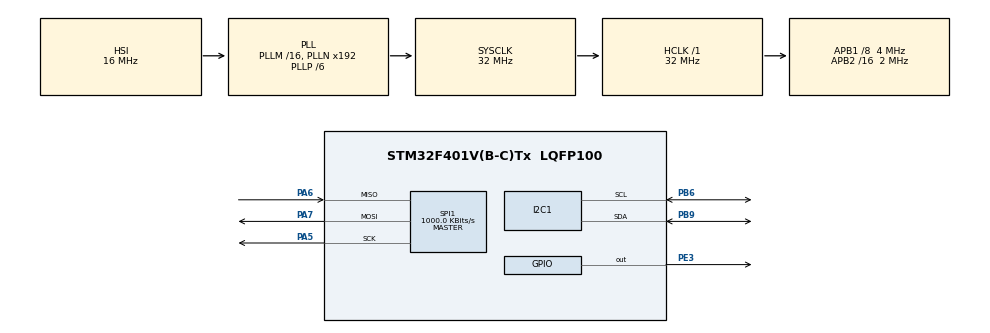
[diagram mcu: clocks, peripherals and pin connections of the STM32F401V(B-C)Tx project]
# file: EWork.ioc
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Mcu.Family=STM32F4
Mcu.Name=STM32F401V(B-C)Tx
Mcu.Package=LQFP100
NVIC.PriorityGroup=NVIC_PRIORITYGROUP_4
NVIC.TIM1_UP_TIM10_IRQn=true\:0\:0\:false\:false\:true
PA13.Mode=Serial_Wire
PA13.Signal=SYS_JTMS-SWDIO
PA14.Mode=Serial_Wire
PA14.Signal=SYS_JTCK-SWCLK
PA5.Mode=Full_Duplex_Master
PA5.Signal=SPI1_SCK
PA6.Mode=Full_Duplex_Master
PA6.Signal=SPI1_MISO
PA7.Mode=Full_Duplex_Master
PA7.Signal=SPI1_MOSI
PB6.Mode=I2C
PB6.Signal=I2C1_SCL
PB9.Mode=I2C
PB9.Signal=I2C1_SDA
PE3.GPIO_Speed=GPIO_SPEED_FREQ_HIGH
PE3.PinState=GPIO_PIN_SET
PE3.Signal=GPIO_Output
ProjectManager.HeapSize=0x200
ProjectManager.StackSize=0x400
ProjectManager.TargetToolchain=SW4STM32
RCC.AHBFreq_Value=32000000
RCC.APB1CLKDivider=RCC_HCLK_DIV8
RCC.APB1Freq_Value=4000000
RCC.APB1TimFreq_Value=8000000
RCC.APB2CLKDivider=RCC_HCLK_DIV16
RCC.APB2Freq_Value=2000000
RCC.APB2TimFreq_Value=4000000
RCC.CortexFreq_Value=32000000
RCC.HCLKFreq_Value=32000000
RCC.HSE_VALUE=25000000
RCC.HSI_VALUE=16000000
RCC.LSE_VALUE=32768
RCC.PLLP=RCC_PLLP_DIV6
RCC.SYSCLKFreq_VALUE=32000000
RCC.SYSCLKSource=RCC_SYSCLKSOURCE_PLLCLK
RCC.VCOOutputFreq_Value=192000000
SPI1.BaudRatePrescaler=SPI_BAUDRATEPRESCALER_2
SPI1.CalculateBaudRate=1000.0 KBits/s
SPI1.Mode=SPI_MODE_MASTER
TIM10.Period=39
TIM10.Prescaler=99
VP_TIM10_VS_ClockSourceINT.Mode=Enable_Timer
board=EWork

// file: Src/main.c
/**
  ******************************************************************************
  * File Name          : main.c
  * Description        : Main program body
  ******************************************************************************
  *
  * COPYRIGHT(c) 2016 STMicroelectronics
  *
  * Redistribution and use in source and binary forms, with or without modification,
  * are permitted provided that the following conditions are met:
  *   1. Redistributions of source code must retain the above copyright notice,
  *      this list of conditions and the following disclaimer.
  *   2. Redistributions in binary form must reproduce the above copyright notice,
  *      this list of conditions and the following disclaimer in the documentation
  *      and/or other materials provided with the distribution.
  *   3. Neither the name of STMicroelectronics nor the names of its contributors
  *      may be used to endorse or promote products derived from this software
  *      without specific prior written permission.
  *
  * THIS SOFTWARE IS PROVIDED BY THE COPYRIGHT HOLDERS AND CONTRIBUTORS "AS IS"
  * AND ANY EXPRESS OR IMPLIED WARRANTIES, INCLUDING, BUT NOT LIMITED TO, THE
  * IMPLIED WARRANTIES OF MERCHANTABILITY AND FITNESS FOR A PARTICULAR PURPOSE ARE
  * DISCLAIMED. IN NO EVENT SHALL THE COPYRIGHT HOLDER OR CONTRIBUTORS BE LIABLE
  * FOR ANY DIRECT, INDIRECT, INCIDENTAL, SPECIAL, EXEMPLARY, OR CONSEQUENTIAL
  * DAMAGES (INCLUDING, BUT NOT LIMITED TO, PROCUREMENT OF SUBSTITUTE GOODS OR
  * SERVICES; LOSS OF USE, DATA, OR PROFITS; OR BUSINESS INTERRUPTION) HOWEVER
  * CAUSED AND ON ANY THEORY OF LIABILITY, WHETHER IN CONTRACT, STRICT LIABILITY,
  * OR TORT (INCLUDING NEGLIGENCE OR OTHERWISE) ARISING IN ANY WAY OUT OF THE USE
  * OF THIS SOFTWARE, EVEN IF ADVISED OF THE POSSIBILITY OF SUCH DAMAGE.
  *
  ******************************************************************************
  */
#include "stm32f4xx_hal.h"

/* USER CODE BEGIN Includes */
#include <math.h>
#include "I2C_SPI.h"
/* USER CODE END Includes */

I2C_HandleTypeDef hi2c1;

SPI_HandleTypeDef hspi1;

TIM_HandleTypeDef htim10;

/* USER CODE BEGIN PV */
/* Private variables ---------------------------------------------------------*/
#define GYRO_CORRECT_ARRAY_NUM 5

double DataGetXAxisAcc = 0;
double DataGetYAxisAcc = 0;
double DataGetZAxisAcc = 0;

double DataGetXAxis;
double DataGetYAxis;
double DataGetZAxis;
int16_t value = 0;
static double AngleXAxis = 0;
static double DataGetXAxisTemp = 0;
/* USER CODE END PV */

void SystemClock_Config(void);
void Error_Handler(void);
static void MX_GPIO_Init(void);
static void MX_I2C1_Init(void);
static void MX_SPI1_Init(void);
static void MX_TIM10_Init(void);

/* USER CODE BEGIN PFP */
/* Private function prototypes -----------------------------------------------*/
void SystemClock_Config(void);
void Error_Handler(void);
static void MX_GPIO_Init(void);
static void MX_I2C1_Init(void);
static void MX_SPI1_Init(void);

void HAL_TIM_PeriodElapsedCallback(TIM_HandleTypeDef *htim){
 //if(htim->Instance == TIM10){ // Jeżeli przerwanie pochodzi od timera 10
AngleXAxis += ((DataGetXAxis + DataGetXAxisTemp) / 1013.5 / 2  );//*1.19 ;
DataGetXAxisTemp = DataGetXAxis;
// }
}
/* USER CODE END PFP */

int main(void)
{

  /* MCU Configuration----------------------------------------------------------*/

  /* Reset of all peripherals, Initializes the Flash interface and the Systick. */
  HAL_Init();

  /* Configure the system clock */
  SystemClock_Config();

  /* Initialize all configured peripherals */
  MX_GPIO_Init();
  MX_I2C1_Init();
  MX_SPI1_Init();
  MX_TIM10_Init();

  /* USER CODE BEGIN 2 */
  HAL_TIM_Base_Start_IT(&htim10);
  initGyroSPI(&hspi1);
  initAccI2C(&hi2c1);

  double * pDataGetXAxis = &DataGetXAxis;
  double * pDataGetYAxis = &DataGetYAxis;
  double * pDataGetZAxis = &DataGetZAxis;

uint8_t check_counter = 0;
float AccPosArr[GYRO_CORRECT_ARRAY_NUM];
for(int i =0;i<GYRO_CORRECT_ARRAY_NUM;i++)
	AccPosArr[i]=0;
  /* USER CODE END 2 */

  /* Infinite loop */
  while (1)
  {
  /* USER CODE BEGIN 3 */
	 getPositionDataACC(&hi2c1, &DataGetXAxisAcc, &DataGetYAxisAcc, &DataGetZAxisAcc,100);
	 getPositionDataSPI(&hspi1, pDataGetXAxis, pDataGetYAxis, pDataGetZAxis,100);

	 AccPosArr[check_counter] = DataGetXAxisAcc;
	 for(uint8_t i=0; i<GYRO_CORRECT_ARRAY_NUM; i++){
		 if((AccPosArr[check_counter] - AccPosArr[i])>0.01 || (AccPosArr[check_counter] - AccPosArr[i])< -0.01)
			 break;
	 	 if(i == GYRO_CORRECT_ARRAY_NUM-1)
	 		AngleXAxis = AccPosArr[check_counter];
	 }

	 check_counter++;
	 check_counter = check_counter % GYRO_CORRECT_ARRAY_NUM;
	 value ++;

  }
  /* USER CODE END 3 */

}

/** System Clock Configuration
*/
void SystemClock_Config(void)
{

  RCC_OscInitTypeDef RCC_OscInitStruct;
  RCC_ClkInitTypeDef RCC_ClkInitStruct;

  __HAL_RCC_PWR_CLK_ENABLE();

  __HAL_PWR_VOLTAGESCALING_CONFIG(PWR_REGULATOR_VOLTAGE_SCALE2);

  RCC_OscInitStruct.OscillatorType = RCC_OSCILLATORTYPE_HSI;
  RCC_OscInitStruct.HSIState = RCC_HSI_ON;
  RCC_OscInitStruct.HSICalibrationValue = 16;
  RCC_OscInitStruct.PLL.PLLState = RCC_PLL_ON;
  RCC_OscInitStruct.PLL.PLLSource = RCC_PLLSOURCE_HSI;
  RCC_OscInitStruct.PLL.PLLM = 16;
  RCC_OscInitStruct.PLL.PLLN = 192;
  RCC_OscInitStruct.PLL.PLLP = RCC_PLLP_DIV6;
  RCC_OscInitStruct.PLL.PLLQ = 4;
  if (HAL_RCC_OscConfig(&RCC_OscInitStruct) != HAL_OK)
  {
    Error_Handler();
  }

  RCC_ClkInitStruct.ClockType = RCC_CLOCKTYPE_HCLK|RCC_CLOCKTYPE_SYSCLK
                              |RCC_CLOCKTYPE_PCLK1|RCC_CLOCKTYPE_PCLK2;
  RCC_ClkInitStruct.SYSCLKSource = RCC_SYSCLKSOURCE_PLLCLK;
  RCC_ClkInitStruct.AHBCLKDivider = RCC_SYSCLK_DIV1;
  RCC_ClkInitStruct.APB1CLKDivider = RCC_HCLK_DIV8;
  RCC_ClkInitStruct.APB2CLKDivider = RCC_HCLK_DIV16;
  if (HAL_RCC_ClockConfig(&RCC_ClkInitStruct, FLASH_LATENCY_1) != HAL_OK)
  {
    Error_Handler();
  }

  HAL_SYSTICK_Config(HAL_RCC_GetHCLKFreq()/1000);

  HAL_SYSTICK_CLKSourceConfig(SYSTICK_CLKSOURCE_HCLK);

  /* SysTick_IRQn interrupt configuration */
  HAL_NVIC_SetPriority(SysTick_IRQn, 0, 0);
}

/* I2C1 init function */
static void MX_I2C1_Init(void)
{

  hi2c1.Instance = I2C1;
  hi2c1.Init.ClockSpeed = 100000;
  hi2c1.Init.DutyCycle = I2C_DUTYCYCLE_2;
  hi2c1.Init.OwnAddress1 = 0;
  hi2c1.Init.AddressingMode = I2C_ADDRESSINGMODE_7BIT;
  hi2c1.Init.DualAddressMode = I2C_DUALADDRESS_DISABLE;
  hi2c1.Init.OwnAddress2 = 0;
  hi2c1.Init.GeneralCallMode = I2C_GENERALCALL_DISABLE;
  hi2c1.Init.NoStretchMode = I2C_NOSTRETCH_DISABLE;
  if (HAL_I2C_Init(&hi2c1) != HAL_OK)
  {
    Error_Handler();
  }

}

/* SPI1 init function */
static void MX_SPI1_Init(void)
{

  hspi1.Instance = SPI1;
  hspi1.Init.Mode = SPI_MODE_MASTER;
  hspi1.Init.Direction = SPI_DIRECTION_2LINES;
  hspi1.Init.DataSize = SPI_DATASIZE_8BIT;
  hspi1.Init.CLKPolarity = SPI_POLARITY_LOW;
  hspi1.Init.CLKPhase = SPI_PHASE_1EDGE;
  hspi1.Init.NSS = SPI_NSS_SOFT;
  hspi1.Init.BaudRatePrescaler = SPI_BAUDRATEPRESCALER_2;
  hspi1.Init.FirstBit = SPI_FIRSTBIT_MSB;
  hspi1.Init.TIMode = SPI_TIMODE_DISABLE;
  hspi1.Init.CRCCalculation = SPI_CRCCALCULATION_DISABLE;
  hspi1.Init.CRCPolynomial = 10;
  if (HAL_SPI_Init(&hspi1) != HAL_OK)
  {
    Error_Handler();
  }

}

/* TIM10 init function */
static void MX_TIM10_Init(void)
{

  htim10.Instance = TIM10;
  htim10.Init.Prescaler = 99;
  htim10.Init.CounterMode = TIM_COUNTERMODE_UP;
  htim10.Init.Period = 39;
  htim10.Init.ClockDivision = TIM_CLOCKDIVISION_DIV1;
  if (HAL_TIM_Base_Init(&htim10) != HAL_OK)
  {
    Error_Handler();
  }

}

/** Configure pins as
        * Analog
        * Input
        * Output
        * EVENT_OUT
        * EXTI
*/
static void MX_GPIO_Init(void)
{

  GPIO_InitTypeDef GPIO_InitStruct;

  /* GPIO Ports Clock Enable */
  __HAL_RCC_GPIOE_CLK_ENABLE();
  __HAL_RCC_GPIOA_CLK_ENABLE();
  __HAL_RCC_GPIOB_CLK_ENABLE();

  /*Configure GPIO pin Output Level */
  HAL_GPIO_WritePin(GPIOE, GPIO_PIN_3, GPIO_PIN_SET);

  /*Configure GPIO pin : PE3 */
  GPIO_InitStruct.Pin = GPIO_PIN_3;
  GPIO_InitStruct.Mode = GPIO_MODE_OUTPUT_PP;
  GPIO_InitStruct.Pull = GPIO_NOPULL;
  GPIO_InitStruct.Speed = GPIO_SPEED_FREQ_HIGH;
  HAL_GPIO_Init(GPIOE, &GPIO_InitStruct);

}

/* USER CODE BEGIN 4 */

//getRadDegPerSec(char * mode,int16_t *getVal){
//	HAL_GPIO_WritePin(GPIOE,GPIO_PIN_3,RESET);
//	HAL_SPI_Transmit(&hspi1,getVal + 2,1,100);
//	HAL_SPI_Receive(&hspi1,getVal,1,100);
//	HAL_GPIO_WritePin(GPIOE,GPIO_PIN_3,SET);
//}
/* USER CODE END 4 */

void Error_Handler(void)
{
  while(1)
  {
  }
}

/************************ (C) COPYRIGHT STMicroelectronics *****END OF FILE****/
